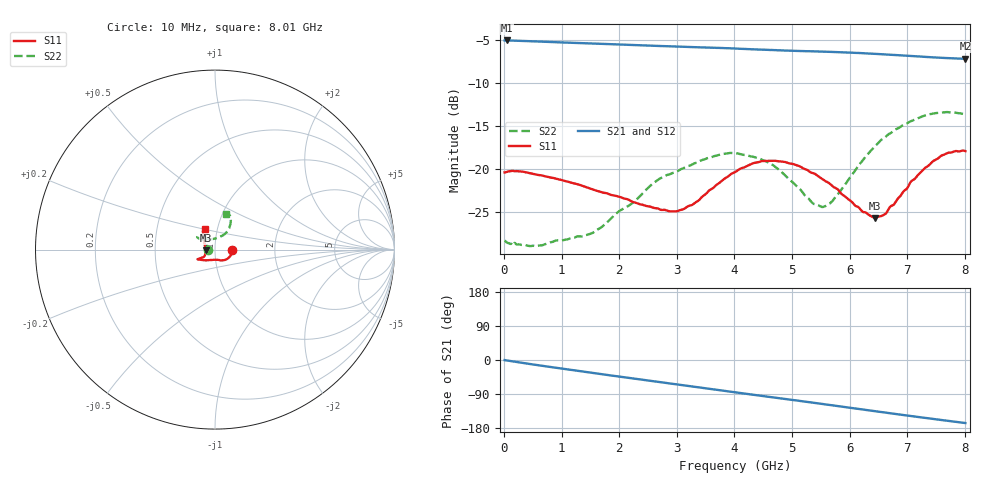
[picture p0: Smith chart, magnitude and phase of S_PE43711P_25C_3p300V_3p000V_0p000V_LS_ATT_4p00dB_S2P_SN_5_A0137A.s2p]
! Device ID: PE43711P
! File Path: z:\PE43711P\CHAR_NOM_04282014\AMB\3p300\LS_ATT_4p00dB\PE43711P_AMB_3p300V_3p000V_0p000V_LS_ATT_4p00dB_S2P_SN_5_A0137A.s2p
! Serial: 5
! Lot: A0137A
! Temp: 25C
! VDD: 3.300
! VSS: 0.000
! Control_Hi: 3.000
! Control_Lo: 0.000
! Attenuation Step: 4.00dB
! Port 1: RF1
! Port 2: RF2
! ThroughPath:1-2
! IDD: 0.0001276083
! ISS: -3.99e-008
#  Hz  S  RI  R  50
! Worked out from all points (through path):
!   801 points, 10 MHz to 8.01 GHz, reference 50 ohm
!   highest |S21| = -5.06 dB at 50 MHz (marker M1); lowest = -7.2 dB at 8.01 GHz (marker M2)
!   group delay of S21, straight-line fit = 57.3 ps
!   lowest |S11| = -25.7 dB at 6.44 GHz (marker M3), VSWR 1.11, Z = 45.1 - j0.341 ohm
!   |S11| at or under -10 dB: start of sweep to end of sweep
!   |S22| runs from -29.0 to -13.4 dB; largest |S21 - S12| = 0.0011
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1e7  0.0951 -0.00038  0.5585 -0.00274  0.5588 -0.00282  -0.0381 0.00025
5e7  0.0958 -0.00231  0.5585 -0.0121  0.5585 -0.012  -0.0371 0.000767
5.7e8  0.0854 -0.0346  0.5363 -0.1264  0.5364 -0.1264  -0.0349 -0.00584
1.35e9  0.0543 -0.0582  0.4664 -0.2702  0.4668 -0.2704  -0.0401 0.00301
1.69e9  0.0415 -0.06  0.4247 -0.3234  0.4251 -0.3236  -0.0419 0.0177
2.68e9  0.0125 -0.0571  0.2763 -0.4389  0.2765 -0.4393  -0.0533 0.0682
3.12e9  -0.0116 -0.057  0.2014 -0.472  0.2015 -0.4725  -0.0655 0.0766
3.55e9  -0.0433 -0.06  0.1254 -0.4917  0.1256 -0.4919  -0.083 0.0808
4.01e9  -0.0766 -0.057  0.0418 -0.4995  0.0415 -0.4999  -0.0992 0.0726
4.34e9  -0.0931 -0.0545  -0.0169 -0.4955  -0.017 -0.4959  -0.0968 0.0656
4.67e9  -0.0975 -0.0536  -0.074 -0.4853  -0.0741 -0.4854  -0.0856 0.0605
5.04e9  -0.0923 -0.052  -0.1343 -0.4673  -0.1346 -0.4672  -0.0588 0.0566
5.35e9  -0.0818 -0.0472  -0.1835 -0.4464  -0.1838 -0.4469  -0.0288 0.0564
5.53e9  -0.0741 -0.0452  -0.2111 -0.4319  -0.2111 -0.4321  -0.00913 0.0591
5.68e9  -0.0678 -0.0431  -0.2336 -0.4183  -0.2338 -0.4183  0.00796 0.0632
6.22e9  -0.0527 -0.0198  -0.3057 -0.3581  -0.3063 -0.3583  0.0607 0.0932
6.44e9  -0.0515 -0.00377  -0.3304 -0.3294  -0.3308 -0.3297  0.0755 0.1119
6.68e9  -0.0554 0.0188  -0.3539 -0.297  -0.3539 -0.2973  0.0836 0.1353
7.08e9  -0.0638 0.0561  -0.385 -0.2391  -0.385 -0.2393  0.0875 0.1686
7.45e9  -0.0668 0.0882  -0.4051 -0.1847  -0.4053 -0.1848  0.0798 0.1937
7.7e9  -0.0669 0.1036  -0.4153 -0.1481  -0.4152 -0.1478  0.0705 0.2017
8.01e9  -0.0583 0.1124  -0.4244 -0.1029  -0.4247 -0.1019  0.0629 0.1969
